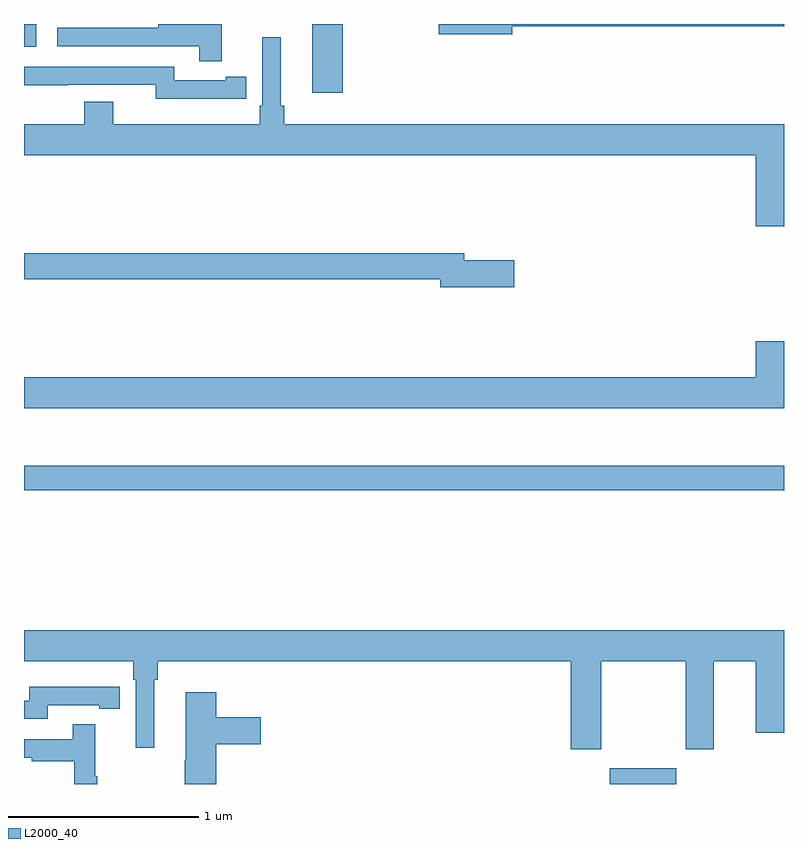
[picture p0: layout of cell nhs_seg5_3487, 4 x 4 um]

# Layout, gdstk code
import gdstk
lib = gdstk.Library(unit=1e-6, precision=1e-09)
def R(c, l, rs):  # rectangles x0, y0, x1, y1
    for r in rs: c.add(gdstk.rectangle(r[:2], r[2:], *l))
def P(c, l, *ps):  # polygons
    for p in ps: c.add(gdstk.Polygon(p, *l))
L2000_40 = (2000, 40)

nhs_seg5_3487 = lib.new_cell('nhs_seg5_3487')
R(nhs_seg5_3487, L2000_40, [(320.084,838.799,320.434,838.882), (317,840.346,321,840.475), (318.518,842.436,318.677,842.799), (317,842.679,317.065,842.799)])
P(nhs_seg5_3487, L2000_40, [(319.57,842.788),(321,842.788),(321,842.799),(319.182,842.799),(319.182,842.746),(319.57,842.746)],
  [(318.041,842.799),(317.931,842.799),(317.931,842.798),(317.707,842.798),(317.707,842.778),(317.175,842.778),(317.175,842.682),(317.923,842.682),(317.923,842.604),(318.041,842.604)],
  [(321,842.272),(318.371,842.272),(318.371,842.368),(318.352,842.368),(318.352,842.728),(318.255,842.728),(318.255,842.368),(318.242,842.368),(318.242,842.272),(317.47,842.272),(317.47,842.389),(317.318,842.389),(317.318,842.272),(317,842.272),(317,842.108),(320.852,842.108),(320.852,841.734),(321,841.734)],
  [(318.062,842.406),(318.17,842.406),(318.17,842.522),(318.062,842.522),(318.062,842.502),(317.79,842.502),(317.79,842.574),(317,842.574),(317,842.477),(317.234,842.477),(317.234,842.478),(317.694,842.478),(317.694,842.405),(318.062,842.405)],
  [(319.579,841.556),(319.318,841.556),(319.318,841.592),(317,841.592),(317,841.456),(319.19,841.456),(319.19,841.414),(319.579,841.414)],
  [(321,841.129),(320.852,841.129),(320.852,840.94),(317,840.94),(317,840.776),(321,840.776)],
  [(320.037,839.444),(320.482,839.444),(320.482,838.983),(320.629,838.983),(320.629,839.444),(320.852,839.444),(320.852,839.07),(321,839.07),(321,839.608),(317,839.608),(317,839.444),(317.576,839.444),(317.576,839.348),(317.589,839.348),(317.589,838.989),(317.686,838.989),(317.686,839.348),(317.705,839.348),(317.705,839.444),(319.877,839.444),(319.877,838.983),(320.037,838.983)],
  [(317.124,839.214),(317.396,839.214),(317.396,839.194),(317.504,839.194),(317.504,839.31),(317.396,839.31),(317.396,839.311),(317.028,839.311),(317.028,839.238),(317,839.238),(317,839.142),(317.124,839.142)],
  [(318.011,839.009),(318.247,839.009),(318.247,839.151),(318.011,839.151),(318.011,839.281),(317.852,839.281),(317.852,838.925),(317.845,838.925),(317.845,838.799),(318.011,838.799)],
  [(317.386,838.841),(317.375,838.841),(317.375,839.113),(317.257,839.113),(317.257,839.034),(317,839.034),(317,838.938),(317.041,838.938),(317.041,838.918),(317.265,838.918),(317.265,838.799),(317.386,838.799)])

lib.write_gds('nhs_seg5_3487.gds')
